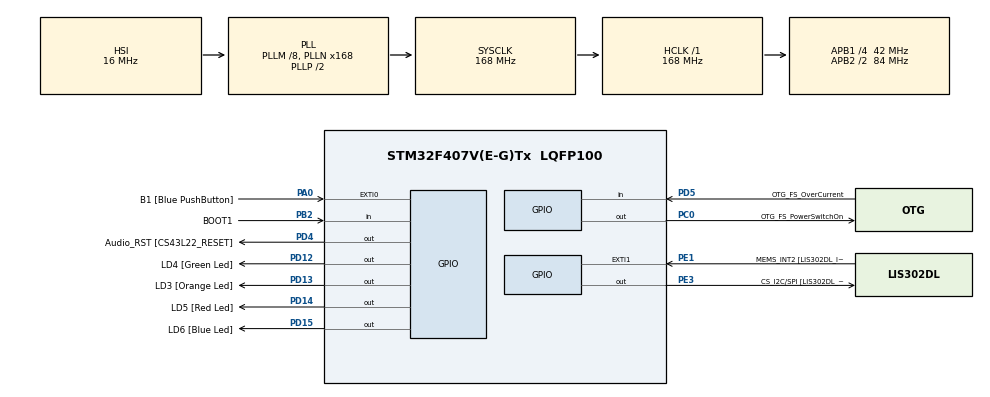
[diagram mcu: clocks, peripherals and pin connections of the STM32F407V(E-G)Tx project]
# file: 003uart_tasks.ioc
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Mcu.Family=STM32F4
Mcu.Name=STM32F407V(E-G)Tx
Mcu.Package=LQFP100
NVIC.PriorityGroup=NVIC_PRIORITYGROUP_4
NVIC.TIM6_DAC_IRQn=true\:0\:0\:false\:false\:true\:false\:true
NVIC.TimeBase=TIM6_DAC_IRQn
NVIC.TimeBaseIP=TIM6
PA0-WKUP.GPIO_Label=B1 [Blue PushButton]
PA0-WKUP.Signal=GPXTI0
PA10.GPIO_Label=OTG_FS_ID
PA10.GPIO_Mode=GPIO_MODE_AF_PP
PA10.GPIO_PuPd=GPIO_NOPULL
PA10.GPIO_Speed=GPIO_SPEED_FREQ_LOW
PA10.Signal=USB_OTG_FS_ID
PA11.GPIO_Label=OTG_FS_DM
PA11.GPIO_Mode=GPIO_MODE_AF_PP
PA11.GPIO_PuPd=GPIO_NOPULL
PA11.GPIO_Speed=GPIO_SPEED_FREQ_LOW
PA11.Signal=USB_OTG_FS_DM
PA12.GPIO_Label=OTG_FS_DP
PA12.GPIO_Mode=GPIO_MODE_AF_PP
PA12.GPIO_PuPd=GPIO_NOPULL
PA12.GPIO_Speed=GPIO_SPEED_FREQ_LOW
PA12.Signal=USB_OTG_FS_DP
PA13.GPIO_Label=SWDIO
PA13.Mode=Serial_Wire
PA13.Signal=SYS_JTMS-SWDIO
PA14.GPIO_Label=SWCLK
PA14.Mode=Serial_Wire
PA14.Signal=SYS_JTCK-SWCLK
PA4.GPIO_Label=I2S3_WS [CS43L22_LRCK]
PA4.GPIO_Mode=GPIO_MODE_AF_PP
PA4.GPIO_PuPd=GPIO_NOPULL
PA4.GPIO_Speed=GPIO_SPEED_FREQ_LOW
PA4.Signal=I2S3_WS
PA5.GPIO_Label=SPI1_SCK [LIS302DL_SCL/SPC]
PA5.GPIO_Mode=GPIO_MODE_AF_PP
PA5.GPIO_PuPd=GPIO_NOPULL
PA5.GPIO_Speed=GPIO_SPEED_FREQ_LOW
PA5.Signal=SPI1_SCK
PA6.GPIO_Label=SPI1_MISO [LIS302DL_SDO]
PA6.GPIO_Mode=GPIO_MODE_AF_PP
PA6.GPIO_PuPd=GPIO_NOPULL
PA6.GPIO_Speed=GPIO_SPEED_FREQ_LOW
PA6.Signal=SPI1_MISO
PA7.GPIO_Label=SPI1_MOSI [LIS302DL_SDA/SDI/SDO]
PA7.GPIO_Mode=GPIO_MODE_AF_PP
PA7.GPIO_PuPd=GPIO_NOPULL
PA7.GPIO_Speed=GPIO_SPEED_FREQ_LOW
PA7.Signal=SPI1_MOSI
PA9.GPIO_Label=VBUS_FS
PA9.GPIO_Mode=GPIO_MODE_INPUT
PA9.GPIO_PuPd=GPIO_NOPULL
PA9.Signal=USB_OTG_FS_VBUS
PB10.GPIO_Label=CLK_IN [MP45DT02_CLK]
PB10.GPIO_Mode=GPIO_MODE_AF_PP
PB10.GPIO_PuPd=GPIO_NOPULL
PB10.GPIO_Speed=GPIO_SPEED_FREQ_LOW
PB10.Signal=I2S2_CK
PB2.GPIO_Label=BOOT1
PB2.GPIO_Mode=GPIO_MODE_INPUT
PB2.GPIO_PuPd=GPIO_NOPULL
PB2.Signal=GPIO_Input
PB3.GPIO_Label=SWO
PB3.Signal=SYS_JTDO-SWO
PB6.GPIO_Label=Audio_SCL [CS43L22_SCL]
PB6.GPIO_Mode=GPIO_MODE_AF_OD
PB6.GPIO_PuPd=GPIO_NOPULL
PB6.GPIO_Speed=GPIO_SPEED_FREQ_LOW
PB6.Signal=I2C1_SCL
PB9.GPIO_Label=Audio_SDA [CS43L22_SDA]
PB9.GPIO_Mode=GPIO_MODE_AF_OD
PB9.GPIO_PuPd=GPIO_NOPULL
PB9.GPIO_Speed=GPIO_SPEED_FREQ_LOW
PB9.Signal=I2C1_SDA
PC0.GPIO_Label=OTG_FS_PowerSwitchOn
PC0.GPIO_PuPd=GPIO_NOPULL
PC0.GPIO_Speed=GPIO_SPEED_FREQ_LOW
PC0.PinState=GPIO_PIN_SET
PC0.Signal=GPIO_Output
PC10.GPIO_Label=I2S3_SCK [CS43L22_SCLK]
PC10.GPIO_Mode=GPIO_MODE_AF_PP
PC10.GPIO_PuPd=GPIO_NOPULL
PC10.GPIO_Speed=GPIO_SPEED_FREQ_LOW
PC10.Signal=I2S3_CK
PC12.GPIO_Label=I2S3_SD [CS43L22_SDIN]
PC12.GPIO_Mode=GPIO_MODE_AF_PP
PC12.GPIO_PuPd=GPIO_NOPULL
PC12.GPIO_Speed=GPIO_SPEED_FREQ_LOW
PC12.Signal=I2S3_SD
PC14-OSC32_IN.GPIO_Label=PC14-OSC32_IN
PC14-OSC32_IN.Signal=RCC_OSC32_IN
PC15-OSC32_OUT.GPIO_Label=PC15-OSC32_OUT
PC15-OSC32_OUT.Signal=RCC_OSC32_OUT
PC3.GPIO_Label=PDM_OUT [MP45DT02_DOUT]
PC3.GPIO_Mode=GPIO_MODE_AF_PP
PC3.GPIO_PuPd=GPIO_NOPULL
PC3.GPIO_Speed=GPIO_SPEED_FREQ_LOW
PC3.Signal=I2S2_SD
PC7.GPIO_Label=I2S3_MCK [CS43L22_MCLK]
PC7.GPIO_Mode=GPIO_MODE_AF_PP
PC7.GPIO_PuPd=GPIO_NOPULL
PC7.GPIO_Speed=GPIO_SPEED_FREQ_LOW
PC7.Signal=I2S3_MCK
PD12.GPIO_Label=LD4 [Green Led]
PD12.GPIO_PuPd=GPIO_NOPULL
PD12.GPIO_Speed=GPIO_SPEED_FREQ_LOW
PD12.Signal=GPIO_Output
PD13.GPIO_Label=LD3 [Orange Led]
PD13.GPIO_PuPd=GPIO_NOPULL
PD13.GPIO_Speed=GPIO_SPEED_FREQ_LOW
PD13.Signal=GPIO_Output
PD14.GPIO_Label=LD5 [Red Led]
PD14.GPIO_PuPd=GPIO_NOPULL
PD14.GPIO_Speed=GPIO_SPEED_FREQ_LOW
PD14.Signal=GPIO_Output
PD15.GPIO_Label=LD6 [Blue Led]
PD15.GPIO_PuPd=GPIO_NOPULL
PD15.GPIO_Speed=GPIO_SPEED_FREQ_LOW
PD15.Signal=GPIO_Output
PD4.GPIO_Label=Audio_RST [CS43L22_RESET]
PD4.GPIO_PuPd=GPIO_NOPULL
PD4.GPIO_Speed=GPIO_SPEED_FREQ_LOW
PD4.Signal=GPIO_Output
PD5.GPIO_Label=OTG_FS_OverCurrent
PD5.GPIO_Mode=GPIO_MODE_INPUT
PD5.GPIO_PuPd=GPIO_NOPULL
PD5.Signal=GPIO_Input
PE1.GPIO_Label=MEMS_INT2 [LIS302DL_INT2]
PE1.GPIO_ModeDefaultEXTI=GPIO_MODE_EVT_RISING
PE1.GPIO_PuPd=GPIO_NOPULL
PE1.Signal=GPXTI1
PE3.GPIO_Label=CS_I2C/SPI [LIS302DL_CS_I2C/SPI]
PE3.GPIO_PuPd=GPIO_NOPULL
PE3.GPIO_Speed=GPIO_SPEED_FREQ_LOW
PE3.Signal=GPIO_Output
PH0-OSC_IN.GPIO_Label=PH0-OSC_IN
PH0-OSC_IN.Signal=RCC_OSC_IN
PH1-OSC_OUT.GPIO_Label=PH1-OSC_OUT
PH1-OSC_OUT.Signal=RCC_OSC_OUT
ProjectManager.HeapSize=0x200
ProjectManager.StackSize=0x400
ProjectManager.TargetToolchain=STM32CubeIDE
RCC.48MHZClocksFreq_Value=48000000
RCC.AHBFreq_Value=168000000
RCC.APB1CLKDivider=RCC_HCLK_DIV4
RCC.APB1Freq_Value=42000000
RCC.APB1TimFreq_Value=84000000
RCC.APB2CLKDivider=RCC_HCLK_DIV2
RCC.APB2Freq_Value=84000000
RCC.APB2TimFreq_Value=168000000
RCC.CortexFreq_Value=168000000
RCC.HCLKFreq_Value=168000000
RCC.HSE_VALUE=8000000
RCC.HSI_VALUE=16000000
RCC.LSE_VALUE=32768
RCC.PLLM=8
RCC.PLLN=168
RCC.PLLQ=7
RCC.SYSCLKFreq_VALUE=168000000
RCC.SYSCLKSource=RCC_SYSCLKSOURCE_PLLCLK
RCC.VCOOutputFreq_Value=336000000
VP_SYS_VS_tim6.Mode=TIM6
board=STM32F407G-DISC1

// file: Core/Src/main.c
/* USER CODE BEGIN Header */
/**
  ******************************************************************************
  * @file           : main.c
  * @brief          : Main program body
  ******************************************************************************
  * @attention
  *
  * Copyright (c) 2022 STMicroelectronics.
  * All rights reserved.
  *
  * This software is licensed under terms that can be found in the LICENSE file
  * in the root directory of this software component.
  * If no LICENSE file comes with this software, it is provided AS-IS.
  *
  ******************************************************************************
  */
/* USER CODE END Header */
#include "main.h"

/* USER CODE BEGIN Includes */
#include <stdio.h>
#include "FreeRTOSConfig.h"
#include "FreeRTOS.h"
#include "task.h"
/* USER CODE END Includes */

/* USER CODE BEGIN PV */
#define DWT_CTRL   (*(volatile uint32_t*)0xE0001000)
/* USER CODE END PV */

void SystemClock_Config(void);
static void MX_GPIO_Init(void);
/* USER CODE BEGIN PFP */
static void task1_function(void* parameters);
static void task2_function(void* parameters);

extern  void SEGGER_UART_init(U32 baud);
/* USER CODE END PFP */

int main(void)
{
  /* USER CODE BEGIN 1 */
	TaskHandle_t Task1_handle;
	TaskHandle_t Task2_handle;
	BaseType_t status;
  /* USER CODE END 1 */

  /* MCU Configuration--------------------------------------------------------*/

  /* Reset of all peripherals, Initializes the Flash interface and the Systick. */
  HAL_Init();

  /* Configure the system clock */
  SystemClock_Config();

  /* Initialize all configured peripherals */
  MX_GPIO_Init();
  /* USER CODE BEGIN 2 */

  //Enable the Cycle counter
  	  DWT_CTRL |= (1<<0);

  	  SEGGER_UART_init(500000);

  	  SEGGER_SYSVIEW_Conf();

  	  //SEGGER_SYSVIEW_Start();

  	  status = xTaskCreate(task1_function,"TASK-1",200,"Hello world from Task 1",2, &Task1_handle);
  	  configASSERT(status == pdPASS);

  	  status = xTaskCreate(task2_function,"TASK-2",200,"Hello world from Task 2",2, &Task2_handle);
  	  configASSERT(status == pdPASS);

  	  vTaskStartScheduler();

  /* USER CODE END 2 */

  /* Infinite loop */
  while (1)
  {

  }
}

void SystemClock_Config(void)
{
  RCC_OscInitTypeDef RCC_OscInitStruct = {0};
  RCC_ClkInitTypeDef RCC_ClkInitStruct = {0};

  /** Configure the main internal regulator output voltage
  */
  __HAL_RCC_PWR_CLK_ENABLE();
  __HAL_PWR_VOLTAGESCALING_CONFIG(PWR_REGULATOR_VOLTAGE_SCALE1);
  /** Initializes the RCC Oscillators according to the specified parameters
  * in the RCC_OscInitTypeDef structure.
  */
  RCC_OscInitStruct.OscillatorType = RCC_OSCILLATORTYPE_HSI;
  RCC_OscInitStruct.HSIState = RCC_HSI_ON;
  RCC_OscInitStruct.HSICalibrationValue = RCC_HSICALIBRATION_DEFAULT;
  RCC_OscInitStruct.PLL.PLLState = RCC_PLL_ON;
  RCC_OscInitStruct.PLL.PLLSource = RCC_PLLSOURCE_HSI;
  RCC_OscInitStruct.PLL.PLLM = 8;
  RCC_OscInitStruct.PLL.PLLN = 168;
  RCC_OscInitStruct.PLL.PLLP = RCC_PLLP_DIV2;
  RCC_OscInitStruct.PLL.PLLQ = 7;
  if (HAL_RCC_OscConfig(&RCC_OscInitStruct) != HAL_OK)
  {
    Error_Handler();
  }
  /** Initializes the CPU, AHB and APB buses clocks
  */
  RCC_ClkInitStruct.ClockType = RCC_CLOCKTYPE_HCLK|RCC_CLOCKTYPE_SYSCLK
                              |RCC_CLOCKTYPE_PCLK1|RCC_CLOCKTYPE_PCLK2;
  RCC_ClkInitStruct.SYSCLKSource = RCC_SYSCLKSOURCE_PLLCLK;
  RCC_ClkInitStruct.AHBCLKDivider = RCC_SYSCLK_DIV1;
  RCC_ClkInitStruct.APB1CLKDivider = RCC_HCLK_DIV4;
  RCC_ClkInitStruct.APB2CLKDivider = RCC_HCLK_DIV2;

  if (HAL_RCC_ClockConfig(&RCC_ClkInitStruct, FLASH_LATENCY_5) != HAL_OK)
  {
    Error_Handler();
  }
}

static void MX_GPIO_Init(void)
{
  GPIO_InitTypeDef GPIO_InitStruct = {0};

  /* GPIO Ports Clock Enable */
  __HAL_RCC_GPIOE_CLK_ENABLE();
  __HAL_RCC_GPIOC_CLK_ENABLE();
  __HAL_RCC_GPIOH_CLK_ENABLE();
  __HAL_RCC_GPIOA_CLK_ENABLE();
  __HAL_RCC_GPIOB_CLK_ENABLE();
  __HAL_RCC_GPIOD_CLK_ENABLE();

  /*Configure GPIO pin Output Level */
  HAL_GPIO_WritePin(CS_I2C_SPI_GPIO_Port, CS_I2C_SPI_Pin, GPIO_PIN_RESET);

  /*Configure GPIO pin Output Level */
  HAL_GPIO_WritePin(OTG_FS_PowerSwitchOn_GPIO_Port, OTG_FS_PowerSwitchOn_Pin, GPIO_PIN_SET);

  /*Configure GPIO pin Output Level */
  HAL_GPIO_WritePin(GPIOD, LD4_Pin|LD3_Pin|LD5_Pin|LD6_Pin
                          |Audio_RST_Pin, GPIO_PIN_RESET);

  /*Configure GPIO pin : CS_I2C_SPI_Pin */
  GPIO_InitStruct.Pin = CS_I2C_SPI_Pin;
  GPIO_InitStruct.Mode = GPIO_MODE_OUTPUT_PP;
  GPIO_InitStruct.Pull = GPIO_NOPULL;
  GPIO_InitStruct.Speed = GPIO_SPEED_FREQ_LOW;
  HAL_GPIO_Init(CS_I2C_SPI_GPIO_Port, &GPIO_InitStruct);

  /*Configure GPIO pin : OTG_FS_PowerSwitchOn_Pin */
  GPIO_InitStruct.Pin = OTG_FS_PowerSwitchOn_Pin;
  GPIO_InitStruct.Mode = GPIO_MODE_OUTPUT_PP;
  GPIO_InitStruct.Pull = GPIO_NOPULL;
  GPIO_InitStruct.Speed = GPIO_SPEED_FREQ_LOW;
  HAL_GPIO_Init(OTG_FS_PowerSwitchOn_GPIO_Port, &GPIO_InitStruct);

  /*Configure GPIO pin : PDM_OUT_Pin */
  GPIO_InitStruct.Pin = PDM_OUT_Pin;
  GPIO_InitStruct.Mode = GPIO_MODE_AF_PP;
  GPIO_InitStruct.Pull = GPIO_NOPULL;
  GPIO_InitStruct.Speed = GPIO_SPEED_FREQ_LOW;
  GPIO_InitStruct.Alternate = GPIO_AF5_SPI2;
  HAL_GPIO_Init(PDM_OUT_GPIO_Port, &GPIO_InitStruct);

  /*Configure GPIO pin : B1_Pin */
  GPIO_InitStruct.Pin = B1_Pin;
  GPIO_InitStruct.Mode = GPIO_MODE_IT_RISING;
  GPIO_InitStruct.Pull = GPIO_NOPULL;
  HAL_GPIO_Init(B1_GPIO_Port, &GPIO_InitStruct);

  /*Configure GPIO pin : I2S3_WS_Pin */
  GPIO_InitStruct.Pin = I2S3_WS_Pin;
  GPIO_InitStruct.Mode = GPIO_MODE_AF_PP;
  GPIO_InitStruct.Pull = GPIO_NOPULL;
  GPIO_InitStruct.Speed = GPIO_SPEED_FREQ_LOW;
  GPIO_InitStruct.Alternate = GPIO_AF6_SPI3;
  HAL_GPIO_Init(I2S3_WS_GPIO_Port, &GPIO_InitStruct);

  /*Configure GPIO pins : SPI1_SCK_Pin SPI1_MISO_Pin SPI1_MOSI_Pin */
  GPIO_InitStruct.Pin = SPI1_SCK_Pin|SPI1_MISO_Pin|SPI1_MOSI_Pin;
  GPIO_InitStruct.Mode = GPIO_MODE_AF_PP;
  GPIO_InitStruct.Pull = GPIO_NOPULL;
  GPIO_InitStruct.Speed = GPIO_SPEED_FREQ_LOW;
  GPIO_InitStruct.Alternate = GPIO_AF5_SPI1;
  HAL_GPIO_Init(GPIOA, &GPIO_InitStruct);

  /*Configure GPIO pin : BOOT1_Pin */
  GPIO_InitStruct.Pin = BOOT1_Pin;
  GPIO_InitStruct.Mode = GPIO_MODE_INPUT;
  GPIO_InitStruct.Pull = GPIO_NOPULL;
  HAL_GPIO_Init(BOOT1_GPIO_Port, &GPIO_InitStruct);

  /*Configure GPIO pin : CLK_IN_Pin */
  GPIO_InitStruct.Pin = CLK_IN_Pin;
  GPIO_InitStruct.Mode = GPIO_MODE_AF_PP;
  GPIO_InitStruct.Pull = GPIO_NOPULL;
  GPIO_InitStruct.Speed = GPIO_SPEED_FREQ_LOW;
  GPIO_InitStruct.Alternate = GPIO_AF5_SPI2;
  HAL_GPIO_Init(CLK_IN_GPIO_Port, &GPIO_InitStruct);

  /*Configure GPIO pins : LD4_Pin LD3_Pin LD5_Pin LD6_Pin
                           Audio_RST_Pin */
  GPIO_InitStruct.Pin = LD4_Pin|LD3_Pin|LD5_Pin|LD6_Pin
                          |Audio_RST_Pin;
  GPIO_InitStruct.Mode = GPIO_MODE_OUTPUT_PP;
  GPIO_InitStruct.Pull = GPIO_NOPULL;
  GPIO_InitStruct.Speed = GPIO_SPEED_FREQ_LOW;
  HAL_GPIO_Init(GPIOD, &GPIO_InitStruct);

  /*Configure GPIO pins : I2S3_MCK_Pin I2S3_SCK_Pin I2S3_SD_Pin */
  GPIO_InitStruct.Pin = I2S3_MCK_Pin|I2S3_SCK_Pin|I2S3_SD_Pin;
  GPIO_InitStruct.Mode = GPIO_MODE_AF_PP;
  GPIO_InitStruct.Pull = GPIO_NOPULL;
  GPIO_InitStruct.Speed = GPIO_SPEED_FREQ_LOW;
  GPIO_InitStruct.Alternate = GPIO_AF6_SPI3;
  HAL_GPIO_Init(GPIOC, &GPIO_InitStruct);

  /*Configure GPIO pin : VBUS_FS_Pin */
  GPIO_InitStruct.Pin = VBUS_FS_Pin;
  GPIO_InitStruct.Mode = GPIO_MODE_INPUT;
  GPIO_InitStruct.Pull = GPIO_NOPULL;
  HAL_GPIO_Init(VBUS_FS_GPIO_Port, &GPIO_InitStruct);

  /*Configure GPIO pins : OTG_FS_ID_Pin OTG_FS_DM_Pin OTG_FS_DP_Pin */
  GPIO_InitStruct.Pin = OTG_FS_ID_Pin|OTG_FS_DM_Pin|OTG_FS_DP_Pin;
  GPIO_InitStruct.Mode = GPIO_MODE_AF_PP;
  GPIO_InitStruct.Pull = GPIO_NOPULL;
  GPIO_InitStruct.Speed = GPIO_SPEED_FREQ_LOW;
  GPIO_InitStruct.Alternate = GPIO_AF10_OTG_FS;
  HAL_GPIO_Init(GPIOA, &GPIO_InitStruct);

  /*Configure GPIO pin : OTG_FS_OverCurrent_Pin */
  GPIO_InitStruct.Pin = OTG_FS_OverCurrent_Pin;
  GPIO_InitStruct.Mode = GPIO_MODE_INPUT;
  GPIO_InitStruct.Pull = GPIO_NOPULL;
  HAL_GPIO_Init(OTG_FS_OverCurrent_GPIO_Port, &GPIO_InitStruct);

  /*Configure GPIO pins : Audio_SCL_Pin Audio_SDA_Pin */
  GPIO_InitStruct.Pin = Audio_SCL_Pin|Audio_SDA_Pin;
  GPIO_InitStruct.Mode = GPIO_MODE_AF_OD;
  GPIO_InitStruct.Pull = GPIO_NOPULL;
  GPIO_InitStruct.Speed = GPIO_SPEED_FREQ_LOW;
  GPIO_InitStruct.Alternate = GPIO_AF4_I2C1;
  HAL_GPIO_Init(GPIOB, &GPIO_InitStruct);

  /*Configure GPIO pin : MEMS_INT2_Pin */
  GPIO_InitStruct.Pin = MEMS_INT2_Pin;
  GPIO_InitStruct.Mode = GPIO_MODE_EVT_RISING;
  GPIO_InitStruct.Pull = GPIO_NOPULL;
  HAL_GPIO_Init(MEMS_INT2_GPIO_Port, &GPIO_InitStruct);

}

/* USER CODE BEGIN 4 */
static void task1_function(void* parameters)
{
	char msg[100];
	while(1)
		{
		snprintf(msg,100,"%s\n",(char*) parameters);
		SEGGER_SYSVIEW_PrintfTarget(msg);
			taskYIELD();
		}

}
static void task2_function(void* parameters)
{
	char msg[100];
	while(1)
		{
			//printf("%s\n",(char*) parameters);
			snprintf(msg,100,"%s\n",(char*) parameters);
			SEGGER_SYSVIEW_PrintfTarget(msg);
			taskYIELD();
		}

}
/* USER CODE END 4 */

void HAL_TIM_PeriodElapsedCallback(TIM_HandleTypeDef *htim)
{
  if (htim->Instance == TIM6) {
    HAL_IncTick();
  }
}

void Error_Handler(void)
{
  __disable_irq();
  while (1)
  {
  }
}
